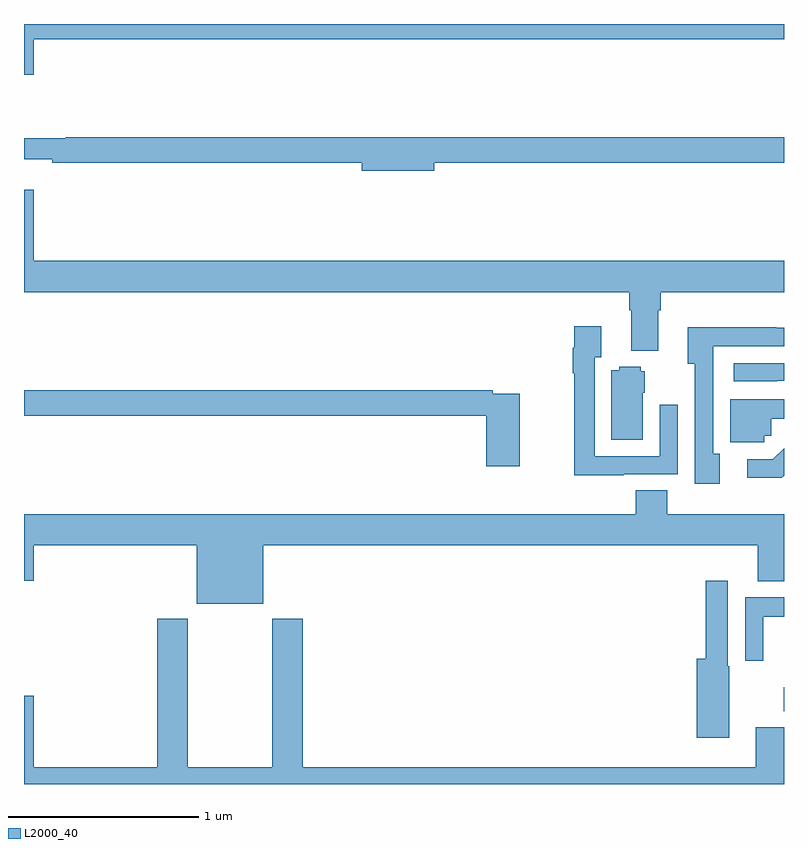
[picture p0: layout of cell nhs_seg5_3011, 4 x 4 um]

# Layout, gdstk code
import gdstk
lib = gdstk.Library(unit=1e-6, precision=1e-09)
def R(c, l, rs):  # rectangles x0, y0, x1, y1
    for r in rs: c.add(gdstk.rectangle(r[:2], r[2:], *l))
def P(c, l, *ps):  # polygons
    for p in ps: c.add(gdstk.Polygon(p, *l))
L2000_40 = (2000, 40)

nhs_seg5_3011 = lib.new_cell('nhs_seg5_3011')
R(nhs_seg5_3011, L2000_40, [(288.998,893.182,289,893.307)])
P(nhs_seg5_3011, L2000_40, [(285.052,896.72),(289,896.72),(289,896.799),(285,896.799),(285,896.532),(285.052,896.532)],
  [(287.158,896.068),(289,896.068),(289,896.204),(285.221,896.204),(285.221,896.197),(285,896.197),(285,896.087),(285.148,896.087),(285.148,896.068),(286.778,896.068),(286.778,896.026),(287.158,896.026)],
  [(288.337,895.292),(288.35,895.292),(288.35,895.388),(289,895.388),(289,895.552),(285.052,895.552),(285.052,895.927),(285,895.927),(285,895.388),(288.185,895.388),(288.185,895.292),(288.197,895.292),(288.197,895.079),(288.337,895.079)],
  [(288.157,894.429),(288.441,894.429),(288.441,894.796),(288.345,894.796),(288.345,894.525),(288.003,894.525),(288.003,895.046),(288.037,895.046),(288.037,895.207),(287.895,895.207),(287.895,895.094),(287.887,895.094),(287.887,894.962),(287.895,894.962),(287.895,894.425),(288.157,894.425)],
  [(288.661,894.538),(288.627,894.538),(288.627,895.104),(289,895.104),(289,895.2),(288.959,895.2),(288.959,895.202),(288.494,895.202),(288.494,895.01),(288.531,895.01),(288.531,894.378),(288.661,894.378)],
  [(288.965,894.921),(289,894.921),(289,895.014),(288.735,895.014),(288.735,894.918),(288.965,894.918)],
  [(288.256,894.858),(288.268,894.858),(288.268,894.972),(288.246,894.972),(288.246,894.994),(288.132,894.994),(288.132,894.976),(288.092,894.976),(288.092,894.61),(288.256,894.61)],
  [(287.61,894.852),(287.468,894.852),(287.468,894.872),(285,894.872),(285,894.736),(287.432,894.736),(287.432,894.471),(287.61,894.471)],
  [(288.897,894.633),(288.933,894.633),(288.933,894.722),(289,894.722),(289,894.825),(288.716,894.825),(288.716,894.597),(288.897,894.597)],
  [(289,894.422),(289,894.565),(288.942,894.507),(288.807,894.507),(288.807,894.41),(288.988,894.41)],
  [(286.258,894.056),(288.863,894.056),(288.863,893.867),(289,893.867),(289,894.22),(288.386,894.22),(288.386,894.344),(288.221,894.344),(288.221,894.22),(285,894.22),(285,893.868),(285.052,893.868),(285.052,894.056),(285.908,894.056),(285.908,893.747),(286.258,893.747)],
  [(288.712,893.418),(288.705,893.418),(288.705,893.869),(288.589,893.869),(288.589,893.458),(288.542,893.458),(288.542,893.042),(288.712,893.042)],
  [(288.891,893.678),(289,893.678),(289,893.782),(288.795,893.782),(288.795,893.448),(288.891,893.448)],
  [(289,893.097),(288.851,893.097),(288.851,892.888),(286.466,892.888),(286.466,893.668),(286.306,893.668),(286.306,892.888),(285.861,892.888),(285.861,893.668),(285.701,893.668),(285.701,892.888),(285.052,892.888),(285.052,893.263),(285,893.263),(285,892.799),(289,892.799)])

lib.write_gds('nhs_seg5_3011.gds')
